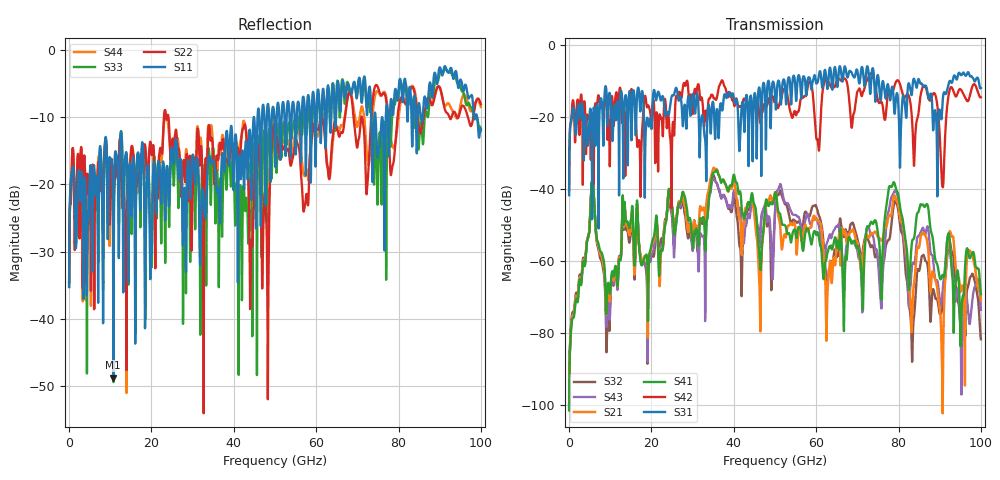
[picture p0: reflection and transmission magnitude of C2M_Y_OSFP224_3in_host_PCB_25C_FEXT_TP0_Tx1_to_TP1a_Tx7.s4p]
# GHz S RI R 45
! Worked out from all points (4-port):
!   4000 points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, 25 MHz to 100 GHz, reference 45 ohm
!   strongest paths, dB at 25 MHz, 25.02 GHz, 50.02 GHz, 75.03 GHz, 100 GHz:
!     S31: -41.8, -14.1, -14.2, -8.5, -12.0
!     S42: -40.4, -26.7, -15.9, -15.6, -14.6
!     S41: -101.5, -45.0, -41.2, -52.5, -69.2
!     S21: -100.8, -44.9, -41.0, -53.5, -70.9
!     S43: -100.7, -47.7, -46.5, -60.0, -73.6
!     S32: -99.9, -47.7, -46.1, -59.7, -81.7
!   lowest |S11| = -48.7 dB at 10.75 GHz (marker M1), VSWR 1.01, Z = 45.2 - j0.286 ohm
!   |S11| at or under -10 dB: start of sweep to 44.86 GHz; 74.43 GHz to 76.92 GHz (2.486 GHz wide, 3.29 % of centre); 99.08 GHz to end of sweep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
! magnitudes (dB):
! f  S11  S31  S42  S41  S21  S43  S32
! 25 MHz  -35.2  -41.8  -40.4  -101.5  -100.8  -100.7  -99.9
! 5.675 GHz  -30.7  -28.0  -19.2  -44.2  -44.2  -44.2  -44.2
! 10.75 GHz  -48.7  -20.8  -20.4  -64.0  -65.2  -66.1  -66.9
! 35.1 GHz  -16.5  -17.0  -14.8  -35.4  -34.2  -37.2  -36.2
! 46.33 GHz  -12.2  -12.6  -21.4  -59.9  -70.1  -56.4  -52.7
! 79.15 GHz  -5.9  -18.4  -11.0  -39.0  -42.1  -40.4  -43.4
! 100 GHz  -11.8  -12.0  -14.6  -69.2  -70.9  -73.6  -81.7
